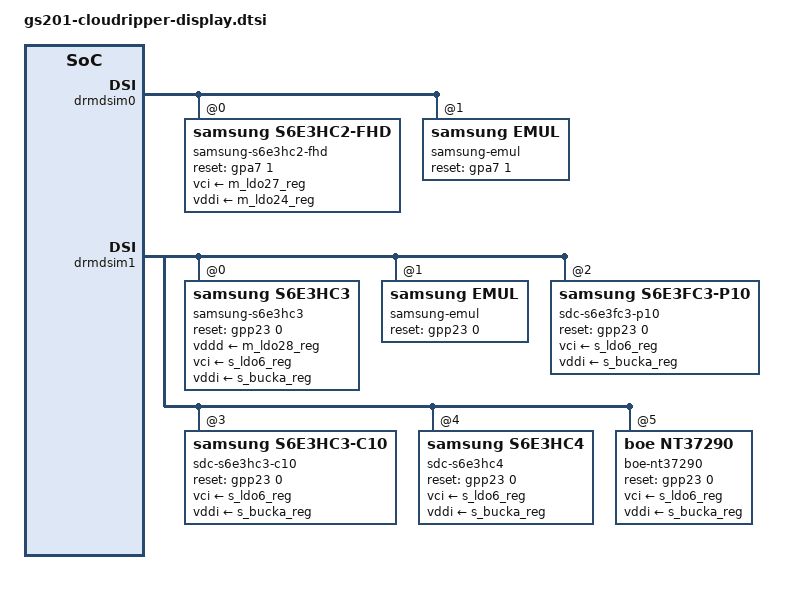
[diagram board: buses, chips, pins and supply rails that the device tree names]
// SPDX-License-Identifier: GPL-2.0-only
/*
 * Display nodes for slider-related boards.
 *
 * Copyright 2021 Google LLC
 *
 */

#include <dt-bindings/regulator/samsung,s2mpg-regulator.h>
#include "gs201-cheetah-display-constants.dtsi"

&drmdsim0 {
	#address-cells = <1>;
	#size-cells = <0>;

	panel@0 {
		compatible = "samsung,s6e3hc2-fhd";
		label = "samsung-s6e3hc2-fhd";
		channel = <0>;
		touch = <&spitouch>;

		/* reset, power */
		reset-gpios = <&gpa7 1 GPIO_ACTIVE_HIGH>;
		vci-supply = <&m_ldo27_reg>;
		vddi-supply = <&m_ldo24_reg>;
	};
	panel@1 {
		compatible = "samsung,emul";
		label = "samsung-emul";
		channel = <0>;

		/* reset, power */
		reset-gpios = <&gpa7 1 GPIO_ACTIVE_HIGH>;
	};
};

&drmdsim1 {
	#address-cells = <1>;
	#size-cells = <0>;
	status = "okay";

	panel@0 {
		compatible = "samsung,s6e3hc3";
		label = "samsung-s6e3hc3";
		channel = <0>;

		/* reset, power */
		reset-gpios = <&gpp23 0 GPIO_ACTIVE_HIGH>;
		vddd-supply = <&m_ldo28_reg>;
		vddd-normal-microvolt = <RAVEN_VDD_NORMAL_MICROVOLT>;
		vddd-lp-microvolt = <RAVEN_VDD_LP_MICROVOLT>;
		vci-supply = <&s_ldo6_reg>;
		vddi-supply = <&s_bucka_reg>;
	};
	panel@1 {
		compatible = "samsung,emul";
		label = "samsung-emul";
		channel = <0>;

		/* reset, power */
		reset-gpios = <&gpp23 0 GPIO_ACTIVE_HIGH>;
	};
	panel@2 {
		compatible = "samsung,s6e3fc3-p10";
		label = "sdc-s6e3fc3-p10";
		channel = <0>;

		/* reset, power */
		reset-gpios = <&gpp23 0 GPIO_ACTIVE_HIGH>;
		vci-supply = <&s_ldo6_reg>;
		vddi-supply = <&s_bucka_reg>;
	};
	panel@3 {
		compatible = "samsung,s6e3hc3-c10";
		label = "sdc-s6e3hc3-c10";
		channel = <0>;

		/* reset, power */
		reset-gpios = <&gpp23 0 GPIO_ACTIVE_HIGH>;
		vddd-normal-microvolt = <CHEETAH_VDDD_NORMAL_MICROVOLT>;
		vddd-lp-microvolt = <CHEETAH_VDDD_LP_MICROVOLT>;
		vci-supply = <&s_ldo6_reg>;
		vddi-supply = <&s_bucka_reg>;
	};
	panel@4 {
		compatible = "samsung,s6e3hc4";
		label = "sdc-s6e3hc4";
		channel = <0>;

		/* reset, power */
		reset-gpios = <&gpp23 0 GPIO_ACTIVE_HIGH>;
		vddd-normal-microvolt = <CHEETAH_3HC4_VDDD_NORMAL_MICROVOLT>;
		vddd-lp-microvolt = <CHEETAH_VDDD_LP_MICROVOLT>;
		vci-supply = <&s_ldo6_reg>;
		vddi-supply = <&s_bucka_reg>;
	};
	panel@5 {
		compatible = "boe,nt37290";
		label = "boe-nt37290";
		channel = <0>;

		/* reset, power */
		reset-gpios = <&gpp23 0 GPIO_ACTIVE_HIGH>;
		vddd-normal-microvolt = <CHEETAH_3HC4_VDDD_NORMAL_MICROVOLT>;
		vddd-lp-microvolt = <CHEETAH_VDDD_LP_MICROVOLT>;
		vci-supply = <&s_ldo6_reg>;
		vddi-supply = <&s_bucka_reg>;
	};
};
